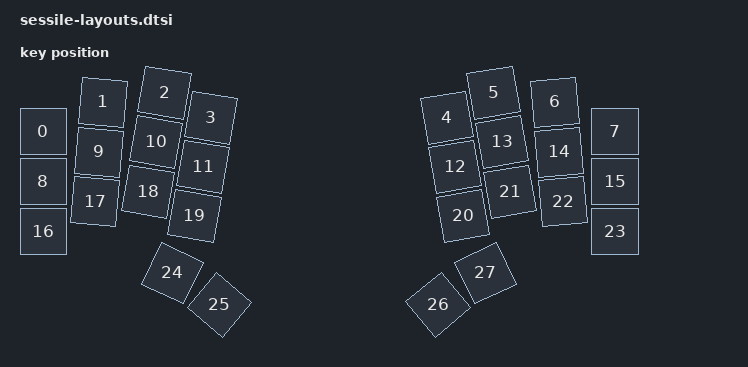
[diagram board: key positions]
#include <physical_layouts.dtsi>

/ {
    default_layout: keymap_layout_0 {
        compatible = "zmk,physical-layout";
        display-name = "LAYOUT";
        transform = <&default_transform>;

        keys  //                     w   h     x     y      rot     rx     ry
        = <&key_physical_attrs 100 100    0   78       0     0     0>
        , <&key_physical_attrs 100 100  120   19     500   170    69>
        , <&key_physical_attrs 100 100  243    0    1000   293    50>
        , <&key_physical_attrs 100 100  336   50    1000   386   100>
        , <&key_physical_attrs 100 100  808   50 (-1000)   858   100>
        , <&key_physical_attrs 100 100  901    0 (-1000)   951    50>
        , <&key_physical_attrs 100 100 1024   19  (-500)  1074    69>
        , <&key_physical_attrs 100 100 1144   78       0     0     0>
        , <&key_physical_attrs 100 100    0  178       0     0     0>
        , <&key_physical_attrs 100 100  112  119     500   162   169>
        , <&key_physical_attrs 100 100  226   99    1000   276   149>
        , <&key_physical_attrs 100 100  320  148    1000   370   198>
        , <&key_physical_attrs 100 100  824  148 (-1000)   874   198>
        , <&key_physical_attrs 100 100  918   99 (-1000)   968   149>
        , <&key_physical_attrs 100 100 1032  119  (-500)  1082   169>
        , <&key_physical_attrs 100 100 1144  178       0     0     0>
        , <&key_physical_attrs 100 100    0  278       0     0     0>
        , <&key_physical_attrs 100 100  104  218     500   154   268>
        , <&key_physical_attrs 100 100  210  198    1000   260   248>
        , <&key_physical_attrs 100 100  303  247    1000   353   297>
        , <&key_physical_attrs 100 100  840  247 (-1000)   890   297>
        , <&key_physical_attrs 100 100  934  198 (-1000)   984   248>
        , <&key_physical_attrs 100 100 1040  218  (-500)  1090   268>
        , <&key_physical_attrs 100 100 1144  278       0     0     0>
        , <&key_physical_attrs 100 100  259  361    2500   309   411>
        , <&key_physical_attrs 100 100  353  425    4000   403   475>
        , <&key_physical_attrs 100 100  791  425 (-4000)   840   475>
        , <&key_physical_attrs 100 100  885  361 (-2500)   935   411>
        ;
    };

    position_map {
        compatible = "zmk,physical-layout-position-map";

        layout {
            physical-layout = <&default_layout>;
            positions = <>;
        };
    };
};
